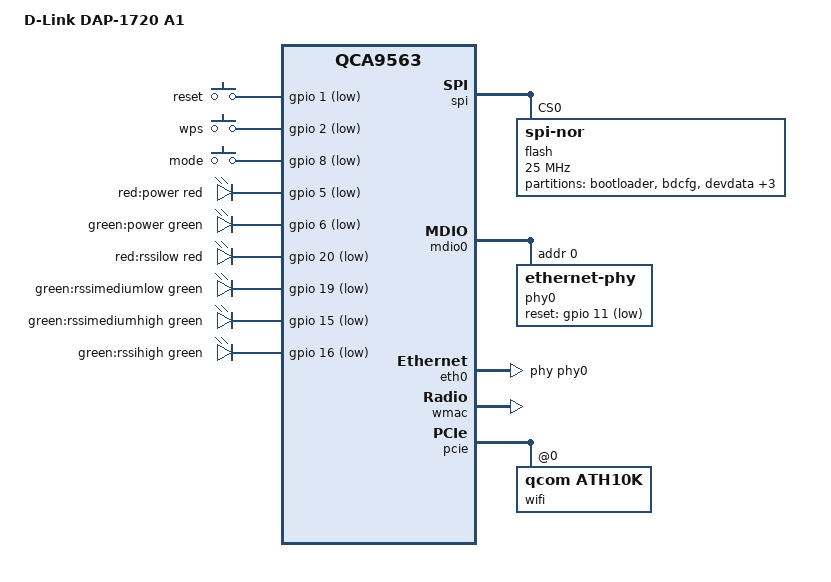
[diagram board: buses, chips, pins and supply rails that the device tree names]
// SPDX-License-Identifier: GPL-2.0-or-later OR MIT

#include "qca956x.dtsi"

#include <dt-bindings/gpio/gpio.h>
#include <dt-bindings/input/input.h>
#include <dt-bindings/leds/common.h>

/ {
	model = "D-Link DAP-1720 A1";
	compatible = "dlink,dap-1720-a1", "qca,qca9563";

	aliases {
		led-boot = &led_power;
		led-failsafe = &led_status;
		led-running = &led_power;
		led-upgrade = &led_status;

		label-mac-device = &eth0;
	};

	keys {
		compatible = "gpio-keys";

		reset {
			label = "reset";
			gpios = <&gpio 1 GPIO_ACTIVE_LOW>;
			linux,code = <KEY_RESTART>;
			debounce-interval = <60>;
		};

		wps {
			label = "wps";
			gpios = <&gpio 2 GPIO_ACTIVE_LOW>;
			linux,code = <KEY_WPS_BUTTON>;
			debounce-interval = <60>;
		};

		modeswitch {
			label = "mode";
			gpios = <&gpio 8 GPIO_ACTIVE_LOW>;
			linux,code = <BTN_0>;
			linux,input-type = <EV_SW>;
			debounce-interval = <60>;
		};
	};

	leds {
		compatible = "gpio-leds";

		led_status: status {
			label = "red:power";
			function = LED_FUNCTION_STATUS;
			color = <LED_COLOR_ID_RED>;
			gpios = <&gpio 5 GPIO_ACTIVE_LOW>;
			panic-indicator;
		};

		led_power: power {
			label = "green:power";
			function = LED_FUNCTION_POWER;
			color = <LED_COLOR_ID_GREEN>;
			gpios = <&gpio 6 GPIO_ACTIVE_LOW>;
		};

		rssilow {
			label = "red:rssilow";
			function = LED_FUNCTION_INDICATOR;
			color = <LED_COLOR_ID_RED>;
			gpios = <&gpio 20 GPIO_ACTIVE_LOW>;
		};

		rssimediumlow {
			label = "green:rssimediumlow";
			function = LED_FUNCTION_INDICATOR;
			color = <LED_COLOR_ID_GREEN>;
			gpios = <&gpio 19 GPIO_ACTIVE_LOW>;
		};

		rssimediumhigh {
			label = "green:rssimediumhigh";
			function = LED_FUNCTION_INDICATOR;
			function-enumerator = <1>;
			color = <LED_COLOR_ID_GREEN>;
			gpios = <&gpio 15 GPIO_ACTIVE_LOW>;
		};

		rssihigh {
			label = "green:rssihigh";
			function = LED_FUNCTION_INDICATOR;
			function-enumerator = <2>;
			color = <LED_COLOR_ID_GREEN>;
			gpios = <&gpio 16 GPIO_ACTIVE_LOW>;
		};

	};

};

&spi {
	status = "okay";

	flash@0 {
		compatible = "jedec,spi-nor";
		reg = <0>;
		spi-max-frequency = <25000000>;

		partitions: partitions {
			compatible = "fixed-partitions";
			#address-cells = <1>;
			#size-cells = <1>;

			partition@0 {
				label = "bootloader";
				reg = <0x000000 0x40000>;
				read-only;
			};

			partition@40000 {
				compatible = "u-boot,env";
				label = "bdcfg";
				reg = <0x040000 0x10000>;
				read-only;
			};

			partition@50000 {
				label = "devdata";
				reg = <0x050000 0x10000>;
				read-only;
			};

			partition@60000 {
				label = "devconf";
				reg = <0x060000 0x10000>;
				read-only;
			};

			partition@70000 {
				compatible = "seama";
				label = "firmware";
				reg = <0x070000 0xf80000>;
			};

			art: partition@ff0000 {
				compatible = "nvmem-cells";
				label = "art";
				reg = <0xff0000 0x010000>;
				read-only;
				#address-cells = <1>;
				#size-cells = <1>;

				calibration_ath9k: calibration@1000 {
					reg = <0x1000 0x440>;
				};

				calibration_ath10k: calibration@5000 {
					reg = <0x5000 0x844>;
				};
			};
		};
	};
};

&mdio0 {
	status = "okay";

	phy0: ethernet-phy@0 {
		reg = <0>;
		phy-mode = "sgmii";

		reset-gpios = <&gpio 11 GPIO_ACTIVE_LOW>;
	};
};

&eth0 {
	status = "okay";
	phy-handle = <&phy0>;
};

&wmac {
	status = "okay";

	nvmem-cells = <&calibration_ath9k>;
	nvmem-cell-names = "calibration";
};

&pcie {
	status = "okay";

	wifi@0,0 {
		compatible = "qcom,ath10k";
		reg = <0x0000 0 0 0 0>;

		nvmem-cells = <&calibration_ath10k>;
		nvmem-cell-names = "calibration";
	};
};

